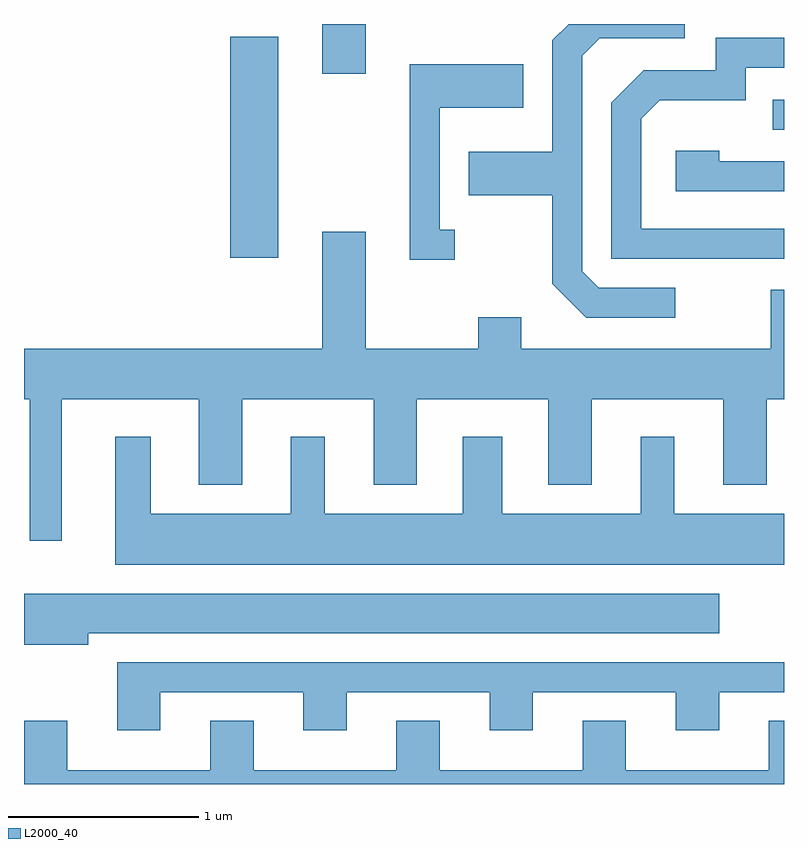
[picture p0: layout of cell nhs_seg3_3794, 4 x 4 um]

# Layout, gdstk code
import gdstk
lib = gdstk.Library(unit=1e-6, precision=1e-09)
def R(c, l, rs):  # rectangles x0, y0, x1, y1
    for r in rs: c.add(gdstk.rectangle(r[:2], r[2:], *l))
def P(c, l, *ps):  # polygons
    for p in ps: c.add(gdstk.Polygon(p, *l))
L2000_40 = (2000, 40)

nhs_seg3_3794 = lib.new_cell('nhs_seg3_3794')
R(nhs_seg3_3794, L2000_40, [(296.696,1226.661,296.949,1227.824), (299.553,1227.336,299.611,1227.494), (297.181,1227.631,297.409,1227.892)])
P(nhs_seg3_3794, L2000_40, [(299.038,1226.504),(298.637,1226.504),(298.549,1226.592),(298.549,1227.724),(298.642,1227.816),(299.088,1227.816),(299.088,1227.892),(298.477,1227.892),(298.391,1227.807),(298.391,1227.219),(297.951,1227.219),(297.951,1226.991),(298.391,1226.991),(298.391,1226.524),(298.569,1226.346),(299.038,1226.346)],
  [(299.611,1226.814),(298.859,1226.814),(298.859,1227.394),(298.957,1227.491),(299.409,1227.491),(299.409,1227.661),(299.611,1227.661),(299.611,1227.819),(299.251,1227.819),(299.251,1227.649),(298.874,1227.649),(298.701,1227.477),(298.701,1226.656),(299.611,1226.656)],
  [(297.878,1226.809),(297.799,1226.809),(297.799,1227.451),(298.239,1227.451),(298.239,1227.679),(297.641,1227.679),(297.641,1226.651),(297.878,1226.651)],
  [(299.611,1227.169),(299.269,1227.169),(299.269,1227.224),(299.041,1227.224),(299.041,1227.011),(299.611,1227.011)],
  [(295.809,1225.916),(296.531,1225.916),(296.531,1225.466),(296.759,1225.466),(296.759,1225.916),(297.451,1225.916),(297.451,1225.466),(297.679,1225.466),(297.679,1225.916),(298.371,1225.916),(298.371,1225.466),(298.599,1225.466),(298.599,1225.916),(299.291,1225.916),(299.291,1225.466),(299.519,1225.466),(299.519,1225.916),(299.611,1225.916),(299.611,1226.494),(299.541,1226.494),(299.541,1226.184),(298.229,1226.184),(298.229,1226.349),(298.001,1226.349),(298.001,1226.184),(297.409,1226.184),(297.409,1226.799),(297.181,1226.799),(297.181,1226.184),(295.611,1226.184),(295.611,1225.916),(295.641,1225.916),(295.641,1225.173),(295.809,1225.173)],
  [(299.611,1225.314),(299.034,1225.314),(299.034,1225.719),(298.856,1225.719),(298.856,1225.314),(298.129,1225.314),(298.129,1225.719),(297.921,1225.719),(297.921,1225.314),(297.194,1225.314),(297.194,1225.719),(297.016,1225.719),(297.016,1225.314),(296.279,1225.314),(296.279,1225.719),(296.091,1225.719),(296.091,1225.046),(299.611,1225.046)],
  [(295.949,1224.686),(299.269,1224.686),(299.269,1224.894),(295.611,1224.894),(295.611,1224.626),(295.949,1224.626)],
  [(296.329,1224.376),(297.081,1224.376),(297.081,1224.176),(297.309,1224.176),(297.309,1224.376),(298.061,1224.376),(298.061,1224.176),(298.289,1224.176),(298.289,1224.376),(299.041,1224.376),(299.041,1224.176),(299.269,1224.176),(299.269,1224.376),(299.611,1224.376),(299.611,1224.534),(296.101,1224.534),(296.101,1224.176),(296.329,1224.176)],
  [(299.611,1224.224),(299.531,1224.224),(299.531,1223.964),(298.779,1223.964),(298.779,1224.224),(298.551,1224.224),(298.551,1223.964),(297.799,1223.964),(297.799,1224.224),(297.571,1224.224),(297.571,1223.964),(296.819,1223.964),(296.819,1224.224),(296.591,1224.224),(296.591,1223.964),(295.839,1223.964),(295.839,1224.224),(295.611,1224.224),(295.611,1223.892),(299.611,1223.892)])

lib.write_gds('nhs_seg3_3794.gds')
